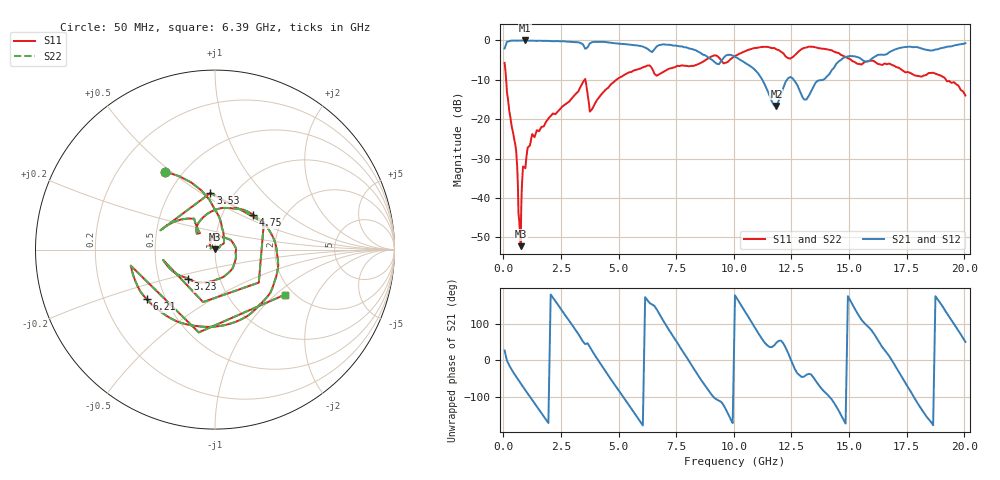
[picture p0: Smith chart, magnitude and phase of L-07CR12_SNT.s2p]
#	mhz	s	ma	r	50
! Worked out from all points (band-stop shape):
!   1001 points, 50 MHz to 20.05 GHz, reference 50 ohm
!   highest |S21| = -0.08 dB at 950 MHz (marker M1); lowest = -16.7 dB at 11.85 GHz (marker M2)
!   |S21| within 3 dB of the highest: start of sweep to 8.506 GHz; 16.74 GHz to end of sweep
!   lowest |S11| = -52.2 dB at 750 MHz (marker M3), VSWR 1.00, Z = 50.1 + j0.197 ohm
!   |S11| at or under -10 dB: 117.3 MHz to 3.529 GHz (3.412 GHz wide, 187 % of centre); 3.555 GHz to 4.912 GHz (1.357 GHz wide, 32.1 % of centre); 19.2 GHz to end of sweep
!   |S22| runs from -52.2 to -1.7 dB; largest |S21 - S12| = 0
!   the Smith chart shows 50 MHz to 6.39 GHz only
!   S11 on the Smith chart (normalised r, x): 50 MHz: 0.40, +0.48; 3.23 GHz: 0.71, -0.24; 3.53 GHz: 0.78, +0.55; 4.75 GHz: 1.39, +0.59; 6.21 GHz: 0.39, -0.28; 6.39 GHz: 1.80, -1.15
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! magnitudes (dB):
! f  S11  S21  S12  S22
! 50 MHz  -5.8  -2.1  -2.1  -5.8
! 490 MHz  -25.7  -0.1  -0.1  -25.7
! 670 MHz  -44.9  -0.1  -0.1  -44.9
! 750 MHz  -52.2  -0.1  -0.1  -52.2
! 950 MHz  -32.5  -0.1  -0.1  -32.5
! 1.31 GHz  -24.3  -0.2  -0.2  -24.3
! 3.23 GHz  -13.1  -0.5  -0.5  -13.1
! 3.39 GHz  -11.3  -0.9  -0.9  -11.3
! 3.53 GHz  -10.0  -2.0  -2.0  -10.0
! 3.83 GHz  -17.6  -0.6  -0.6  -17.6
! 4.75 GHz  -10.8  -0.7  -0.7  -10.8
! 6.21 GHz  -6.5  -2.1  -2.1  -6.5
! 6.39 GHz  -6.7  -2.8  -2.8  -6.7
! 6.73 GHz  -8.8  -1.3  -1.3  -8.8
! 10.05 GHz  -4.0  -4.3  -4.3  -4.0
! 11.85 GHz  -2.3  -16.7  -16.7  -2.3
! 12.41 GHz  -4.6  -9.5  -9.5  -4.6
! 13.07 GHz  -2.0  -15.1  -15.1  -2.0
! 13.39 GHz  -1.7  -12.6  -12.6  -1.7
! 14.81 GHz  -4.1  -4.3  -4.3  -4.1
! 16.73 GHz  -6.0  -3.1  -3.1  -6.0
! 20.05 GHz  -14.0  -0.8  -0.8  -14.0
